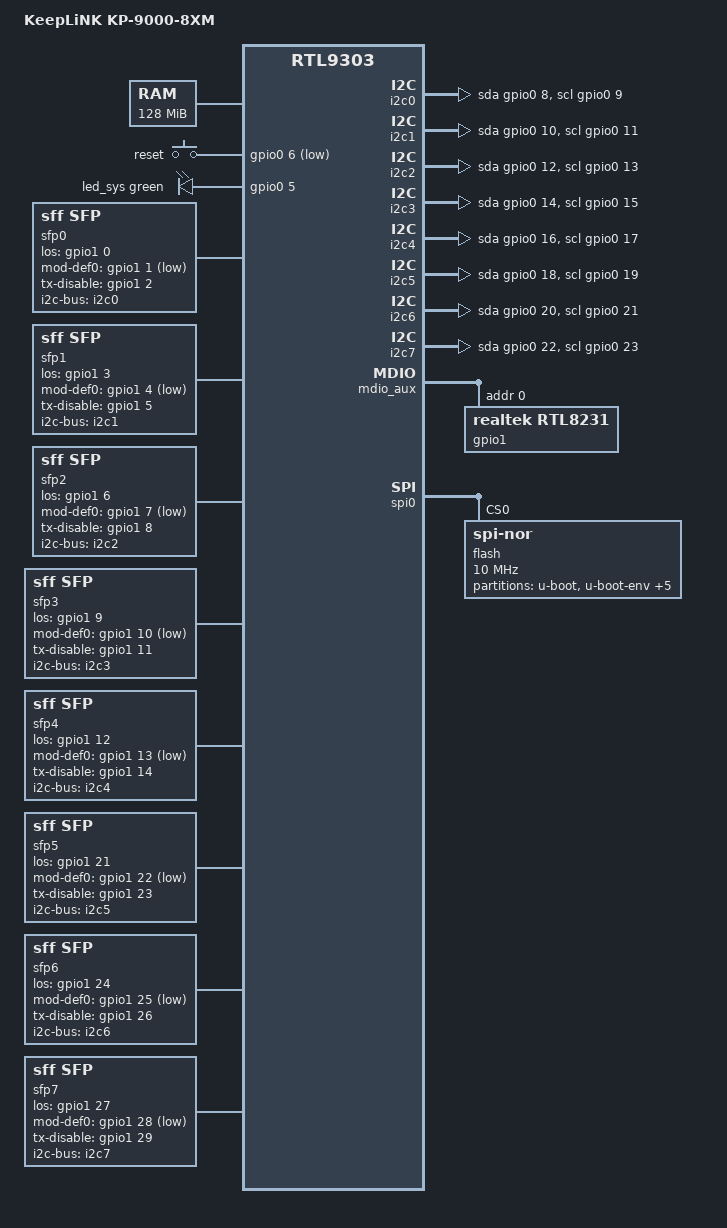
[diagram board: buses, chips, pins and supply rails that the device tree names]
// SPDX-License-Identifier: GPL-2.0-or-later

#include "rtl930x.dtsi"

#include <dt-bindings/input/input.h>
#include <dt-bindings/gpio/gpio.h>
#include <dt-bindings/leds/common.h>

/ {
	compatible = "keeplink,kp-9000-8xm", "realtek,rtl9303-soc";
	model = "KeepLiNK KP-9000-8XM";

	aliases {
		label-mac-device = &ethernet0;
		led-boot = &led_sys;
		led-failsafe = &led_sys;
		led-running = &led_sys;
		led-upgrade = &led_sys;
	};

	memory@0 {
		device_type = "memory";
		reg = <0x0 0x8000000>;
	};

	keys {
		compatible = "gpio-keys";

		button-reset {
			label = "reset";
			gpios = <&gpio0 6 GPIO_ACTIVE_LOW>;
			linux,code = <KEY_RESTART>;
		};
	};

	leds {
		compatible = "gpio-leds";

		led_sys: led-0 {
			gpios = <&gpio0 5 GPIO_ACTIVE_HIGH>;
			color = <LED_COLOR_ID_GREEN>;
			function = LED_FUNCTION_STATUS;
		};
	};

	led_set {
		compatible = "realtek,rtl9300-leds";
		active-low;

		/* [Orange] [Green] */
		led_set0 = <(RTL93XX_LED_SET_10G | RTL93XX_LED_SET_LINK |
			     RTL93XX_LED_SET_ACT)
			    (RTL93XX_LED_SET_2P5G | RTL93XX_LED_SET_1G |
			     RTL93XX_LED_SET_100M | RTL93XX_LED_SET_LINK |
			     RTL93XX_LED_SET_ACT)>;
	};

	/* SFP I2C using bit-banged I2C, not internal SMBus controller */
	i2c0: i2c-gpio-0 {
		compatible = "i2c-gpio";
		sda-gpios = <&gpio0 8 (GPIO_ACTIVE_HIGH | GPIO_OPEN_DRAIN)>;
		scl-gpios = <&gpio0 9 (GPIO_ACTIVE_HIGH | GPIO_OPEN_DRAIN)>;
		i2c-gpio,delay-us = <5>;
		#address-cells = <1>;
		#size-cells = <0>;
	};

	i2c1: i2c-gpio-1 {
		compatible = "i2c-gpio";
		sda-gpios = <&gpio0 10 (GPIO_ACTIVE_HIGH | GPIO_OPEN_DRAIN)>;
		scl-gpios = <&gpio0 11 (GPIO_ACTIVE_HIGH | GPIO_OPEN_DRAIN)>;
		i2c-gpio,delay-us = <5>;
		#address-cells = <1>;
		#size-cells = <0>;
	};

	i2c2: i2c-gpio-2 {
		compatible = "i2c-gpio";
		sda-gpios = <&gpio0 12 (GPIO_ACTIVE_HIGH | GPIO_OPEN_DRAIN)>;
		scl-gpios = <&gpio0 13 (GPIO_ACTIVE_HIGH | GPIO_OPEN_DRAIN)>;
		i2c-gpio,delay-us = <5>;
		#address-cells = <1>;
		#size-cells = <0>;
	};

	i2c3: i2c-gpio-3 {
		compatible = "i2c-gpio";
		sda-gpios = <&gpio0 14 (GPIO_ACTIVE_HIGH | GPIO_OPEN_DRAIN)>;
		scl-gpios = <&gpio0 15 (GPIO_ACTIVE_HIGH | GPIO_OPEN_DRAIN)>;
		i2c-gpio,delay-us = <5>;
		#address-cells = <1>;
		#size-cells = <0>;
	};

	i2c4: i2c-gpio-4 {
		compatible = "i2c-gpio";
		sda-gpios = <&gpio0 16 (GPIO_ACTIVE_HIGH | GPIO_OPEN_DRAIN)>;
		scl-gpios = <&gpio0 17 (GPIO_ACTIVE_HIGH | GPIO_OPEN_DRAIN)>;
		i2c-gpio,delay-us = <5>;
		#address-cells = <1>;
		#size-cells = <0>;
	};

	i2c5: i2c-gpio-5 {
		compatible = "i2c-gpio";
		pinctrl-names = "default";
		pinctrl-0 = <&pinmux_disable_usb_led &pinmux_disable_led_sync>;
		sda-gpios = <&gpio0 18 (GPIO_ACTIVE_HIGH | GPIO_OPEN_DRAIN)>;
		scl-gpios = <&gpio0 19 (GPIO_ACTIVE_HIGH | GPIO_OPEN_DRAIN)>;
		i2c-gpio,delay-us = <5>;
		#address-cells = <1>;
		#size-cells = <0>;
	};

	i2c6: i2c-gpio-6 {
		compatible = "i2c-gpio";
		sda-gpios = <&gpio0 20 (GPIO_ACTIVE_HIGH | GPIO_OPEN_DRAIN)>;
		scl-gpios = <&gpio0 21 (GPIO_ACTIVE_HIGH | GPIO_OPEN_DRAIN)>;
		i2c-gpio,delay-us = <5>;
		#address-cells = <1>;
		#size-cells = <0>;
	};

	i2c7: i2c-gpio-7 {
		compatible = "i2c-gpio";
		pinctrl-names = "default";
		pinctrl-0 = <&pinmux_disable_led_stack>;
		sda-gpios = <&gpio0 22 (GPIO_ACTIVE_HIGH | GPIO_OPEN_DRAIN)>;
		scl-gpios = <&gpio0 23 (GPIO_ACTIVE_HIGH | GPIO_OPEN_DRAIN)>;
		i2c-gpio,delay-us = <5>;
		#address-cells = <1>;
		#size-cells = <0>;
	};

	sfp0: sfp-p1 {
		compatible = "sff,sfp";
		i2c-bus = <&i2c0>;
		los-gpios = <&gpio1 0 GPIO_ACTIVE_HIGH>;
		mod-def0-gpios = <&gpio1 1 GPIO_ACTIVE_LOW>;
		tx-disable-gpios = <&gpio1 2 GPIO_ACTIVE_HIGH>;
		#thermal-sensor-cells = <0>;
	};

	sfp1: sfp-p2 {
		compatible = "sff,sfp";
		i2c-bus = <&i2c1>;
		los-gpios = <&gpio1 3 GPIO_ACTIVE_HIGH>;
		mod-def0-gpios = <&gpio1 4 GPIO_ACTIVE_LOW>;
		tx-disable-gpios = <&gpio1 5 GPIO_ACTIVE_HIGH>;
		#thermal-sensor-cells = <0>;
	};

	sfp2: sfp-p3 {
		compatible = "sff,sfp";
		i2c-bus = <&i2c2>;
		los-gpios = <&gpio1 6 GPIO_ACTIVE_HIGH>;
		mod-def0-gpios = <&gpio1 7 GPIO_ACTIVE_LOW>;
		tx-disable-gpios = <&gpio1 8 GPIO_ACTIVE_HIGH>;
		#thermal-sensor-cells = <0>;
	};

	sfp3: sfp-p4 {
		compatible = "sff,sfp";
		i2c-bus = <&i2c3>;
		los-gpios = <&gpio1 9 GPIO_ACTIVE_HIGH>;
		mod-def0-gpios = <&gpio1 10 GPIO_ACTIVE_LOW>;
		tx-disable-gpios = <&gpio1 11 GPIO_ACTIVE_HIGH>;
		#thermal-sensor-cells = <0>;
	};

	sfp4: sfp-p5 {
		compatible = "sff,sfp";
		i2c-bus = <&i2c4>;
		los-gpios = <&gpio1 12 GPIO_ACTIVE_HIGH>;
		mod-def0-gpios = <&gpio1 13 GPIO_ACTIVE_LOW>;
		tx-disable-gpios = <&gpio1 14 GPIO_ACTIVE_HIGH>;
		#thermal-sensor-cells = <0>;
	};

	sfp5: sfp-p6 {
		compatible = "sff,sfp";
		i2c-bus = <&i2c5>;
		los-gpios = <&gpio1 21 GPIO_ACTIVE_HIGH>;
		mod-def0-gpios = <&gpio1 22 GPIO_ACTIVE_LOW>;
		tx-disable-gpios = <&gpio1 23 GPIO_ACTIVE_HIGH>;
		#thermal-sensor-cells = <0>;
	};

	sfp6: sfp-p7 {
		compatible = "sff,sfp";
		i2c-bus = <&i2c6>;
		los-gpios = <&gpio1 24 GPIO_ACTIVE_HIGH>;
		mod-def0-gpios = <&gpio1 25 GPIO_ACTIVE_LOW>;
		tx-disable-gpios = <&gpio1 26 GPIO_ACTIVE_HIGH>;
		#thermal-sensor-cells = <0>;
	};

	sfp7: sfp-p8 {
		compatible = "sff,sfp";
		i2c-bus = <&i2c7>;
		los-gpios = <&gpio1 27 GPIO_ACTIVE_HIGH>;
		mod-def0-gpios = <&gpio1 28 GPIO_ACTIVE_LOW>;
		tx-disable-gpios = <&gpio1 29 GPIO_ACTIVE_HIGH>;
		#thermal-sensor-cells = <0>;
	};
};

&mdio_aux {
	pinctrl-names = "default";
	pinctrl-0 = <&pinmux_gpio_mdio_en>;
	status = "okay";

	gpio1: gpio@0 {
		compatible = "realtek,rtl8231";
		reg = <0>;

		gpio-controller;
		#gpio-cells = <2>;
		gpio-ranges = <&gpio1 0 0 37>;

		led-controller {
			compatible = "realtek,rtl8231-leds";
			status = "disabled";
		};
	};
};

&spi0 {
	status = "okay";

	flash@0 {
		compatible = "jedec,spi-nor";
		reg = <0>;
		spi-max-frequency = <10000000>;

		partitions {
			compatible = "fixed-partitions";
			#address-cells = <1>;
			#size-cells = <1>;

			partition@0 {
				label = "u-boot";
				reg = <0x0 0xe0000>;
				read-only;
			};

			partition@e0000 {
				label = "u-boot-env";
				reg = <0xe0000 0x10000>;
				read-only;

				nvmem-layout {
					compatible = "u-boot,env";

					macaddr_ubootenv_ethaddr: ethaddr {
						#nvmem-cell-cells = <1>;
					};
				};
			};

			partition@f0000 {
				label = "u-boot-env2";
				reg = <0xf0000 0x10000>;
				read-only;
			};

			partition@100000 {
				label = "jffs2_cfg";
				reg = <0x100000 0x100000>;
				read-only;
			};

			partition@200000 {
				label = "jffs2_log";
				reg = <0x200000 0x100000>;
				read-only;
			};

			partition@300000 {
				compatible = "openwrt,uimage", "denx,uimage";
				label = "firmware";
				reg = <0x300000 0x1c00000>;
				openwrt,ih-magic = <0x93000000>;
			};

			partition@1f00000 {
				label = "oeminfo";
				reg = <0x1f00000 0x100000>;
				read-only;
			};
		};
	};
};

&switch0 {
	ethernet-ports {
		#address-cells = <1>;
		#size-cells = <0>;

		SWITCH_PORT_SFP(0, 1, 2, 0, 0)
		SWITCH_PORT_SFP(8, 2, 3, 0, 1)
		SWITCH_PORT_SFP(16, 3, 4, 0, 2)
		SWITCH_PORT_SFP(20, 4, 5, 0, 3)
		SWITCH_PORT_SFP(24, 5, 6, 0, 4)
		SWITCH_PORT_SFP(25, 6, 7, 0, 5)
		SWITCH_PORT_SFP(26, 7, 8, 0, 6)
		SWITCH_PORT_SFP(27, 8, 9, 0, 7)

		port@1c {
			reg = <28>;
			ethernet = <&ethernet0>;
			phy-mode = "internal";

			fixed-link {
				speed = <1000>;
				full-duplex;
			};
		};
	};
};

&ethernet0 {
	nvmem-cells = <&macaddr_ubootenv_ethaddr 0>;
	nvmem-cell-names = "mac-address";
};

&thermal_zones {
	sfp-thermal {
		polling-delay-passive = <10000>;
		polling-delay = <10000>;
		thermal-sensors = <&sfp0>, <&sfp1>, <&sfp2>, <&sfp3>, <&sfp4>, <&sfp5>, <&sfp6>, <&sfp7>;
		trips {
			sfp-crit {
				temperature = <110000>;
				hysteresis = <1000>;
				type = "critical";
			};
		};
	};
};
